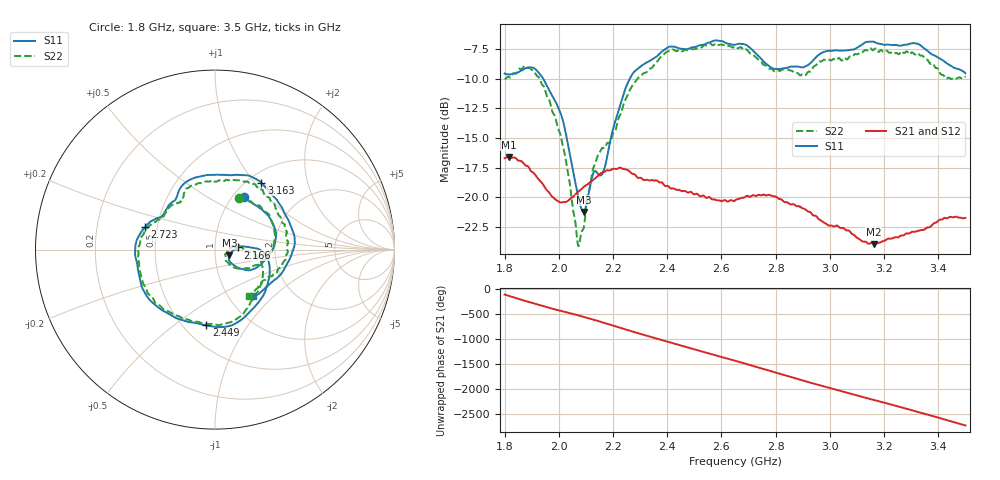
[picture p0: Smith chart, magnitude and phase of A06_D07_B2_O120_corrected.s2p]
! Created with skrf 1.9.0 (http://scikit-rf.org).
# Hz S RI R 50.0
!freq ReS11 ImS11 ReS21 ImS21 ReS12 ImS12 ReS22 ImS22
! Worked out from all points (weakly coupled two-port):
!   1601 points, 1.8 GHz to 3.5 GHz, reference 50 ohm
!   highest |S21| = -16.61 dB at 1.816 GHz (marker M1); lowest = -24.0 dB at 3.162 GHz (marker M2)
!   lowest |S11| = -21.3 dB at 2.091 GHz (marker M3), VSWR 1.19, Z = 58.6 - j3.86 ohm
!   |S11| at or under -10 dB: 1.943 GHz to 2.261 GHz (318.3 MHz wide, 15.1 % of centre)
!   |S22| runs from -24.1 to -7.0 dB; largest |S21 - S12| = 0.0028
!   S11 on the Smith chart (normalised r, x): 1.8 GHz: 1.13, +0.74; 2.166 GHz: 1.30, +0.03; 2.449 GHz: 0.64, -0.66; 2.723 GHz: 0.43, +0.13; 3.163 GHz: 1.15, +1.08; 3.5 GHz: 1.28, -0.75
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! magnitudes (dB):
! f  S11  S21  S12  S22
! 1.8 GHz  -9.5  -16.7  -16.7  -10.0
! 1.816 GHz  -9.6  -16.6  -16.6  -9.8
! 1.88 GHz  -9.1  -17.3  -17.3  -9.0
! 1.943 GHz  -10.0  -19.0  -19.0  -10.6
! 2.013 GHz  -13.3  -20.4  -20.4  -15.4
! 2.068 GHz  -19.5  -19.6  -19.6  -23.6
! 2.084 GHz  -21.0  -19.3  -19.3  -23.0
! 2.091 GHz  -21.3  -19.1  -19.2  -22.7
! 2.128 GHz  -17.9  -18.5  -18.5  -17.5
! 2.166 GHz  -17.8  -17.9  -17.9  -15.9
! 2.258 GHz  -10.2  -17.8  -17.8  -11.1
! 2.367 GHz  -8.0  -18.7  -18.6  -8.4
! 2.449 GHz  -7.4  -19.4  -19.4  -7.6
! 2.65 GHz  -7.1  -20.3  -20.3  -7.3
! 2.723 GHz  -7.8  -19.9  -19.8  -8.1
! 2.797 GHz  -9.1  -19.9  -19.9  -9.4
! 2.934 GHz  -8.5  -21.4  -21.4  -9.2
! 3.162 GHz  -6.9  -24.0  -23.9  -7.5
! 3.163 GHz  -6.9  -24.0  -23.9  -7.5
! 3.217 GHz  -7.1  -23.5  -23.5  -7.8
! 3.324 GHz  -7.0  -22.9  -22.8  -7.8
! 3.5 GHz  -9.5  -21.8  -21.8  -9.9
